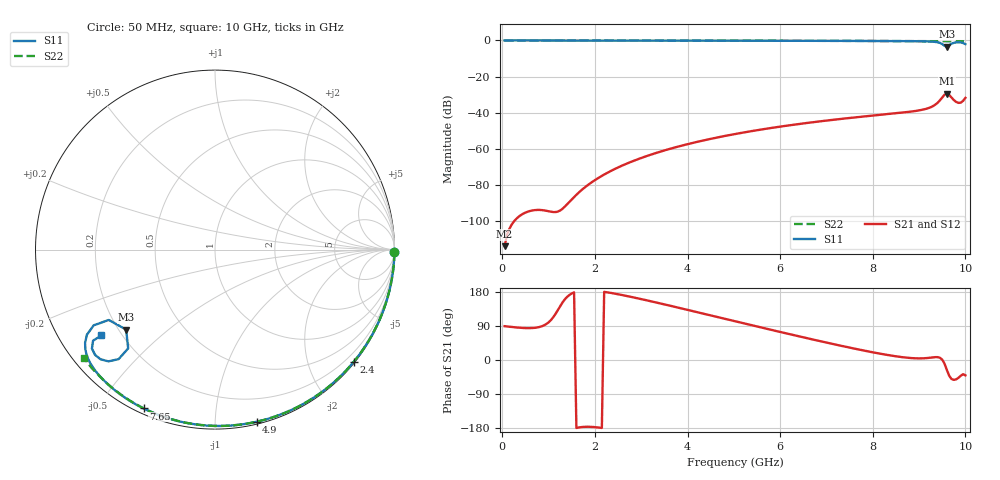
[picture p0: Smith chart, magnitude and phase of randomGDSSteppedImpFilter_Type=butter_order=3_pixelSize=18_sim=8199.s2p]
! freq	dB(S11)	phase(S11)	dB(S12)	phase(S12)
!  dB(S21)	phase(S21)	dB(S22)	phase(S22)
!S-par simulation data
#  GHz  S  DB  R 50
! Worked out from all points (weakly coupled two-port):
!   200 points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, 50 MHz to 10 GHz, reference 50 ohm
!   highest |S21| = -29.40 dB at 9.6 GHz (marker M1); lowest = -113.9 dB at 50 MHz (marker M2)
!   lowest |S11| = -3.5 dB at 9.6 GHz (marker M3), VSWR 4.99, Z = 11.4 - j18.3 ohm
!   |S11| at or under -10 dB: nowhere
!   |S22| runs from -0.5 to 0.0 dB; largest |S21 - S12| = 0
!   S11 on the Smith chart (normalised r, x): 50 MHz: open; 2.4 GHz: 0.03, -2.83; 4.9 GHz: 0.02, -1.27; 7.65 GHz: 0.02, -0.65; 10 GHz: 0.13, -0.33
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0.05  -0.00 -0.8  -113.90 89.3  -113.90 89.3  -0.00 -0.8
0.9  -0.02 -14.8  -94.07 91.4  -94.07 91.4  -0.02 -14.6
1.75  -0.04 -28.6  -82.02 -176.5  -82.02 -176.5  -0.04 -28.1
1.85  -0.04 -30.2  -80.01 -176.2  -80.01 -176.2  -0.04 -29.6
2.4  -0.05 -38.9  -71.54 175.8  -71.54 175.8  -0.05 -38.2
2.85  -0.06 -45.9  -66.50 164.7  -66.50 164.7  -0.06 -45.1
3.4  -0.07 -54.3  -61.66 149.6  -61.66 149.6  -0.07 -53.4
4.9  -0.11 -76.4  -52.42 106.0  -52.42 106.0  -0.11 -75.0
5.05  -0.12 -78.6  -51.70 101.6  -51.70 101.6  -0.12 -77.1
6.7  -0.20 -101.4  -45.29 54.2  -45.29 54.2  -0.19 -99.2
7.65  -0.26 -114.2  -42.51 28.8  -42.51 28.8  -0.25 -111.3
8.35  -0.33 -123.8  -40.71 12.6  -40.71 12.6  -0.31 -120.1
9.2  -0.56 -138.2  -37.47 5.5  -37.47 5.5  -0.39 -130.5
9.35  -0.81 -142.5  -35.55 7.6  -35.55 7.6  -0.40 -132.3
9.45  -1.35 -146.4  -33.17 5.9  -33.17 5.9  -0.41 -133.5
9.55  -2.98 -146.5  -30.03 -9.9  -30.03 -9.9  -0.42 -134.7
9.6  -3.53 -138.0  -29.40 -26.4  -29.40 -26.4  -0.42 -135.4
9.65  -2.70 -131.3  -30.18 -41.6  -30.18 -41.6  -0.42 -136.0
9.7  -1.80 -131.3  -31.63 -50.0  -31.63 -50.0  -0.43 -136.6
9.85  -1.02 -138.7  -34.57 -47.1  -34.57 -47.1  -0.45 -138.5
9.9  -1.11 -141.2  -34.46 -41.6  -34.46 -41.6  -0.46 -139.1
10  -2.01 -142.9  -31.78 -40.5  -31.78 -40.5  -0.47 -140.3
